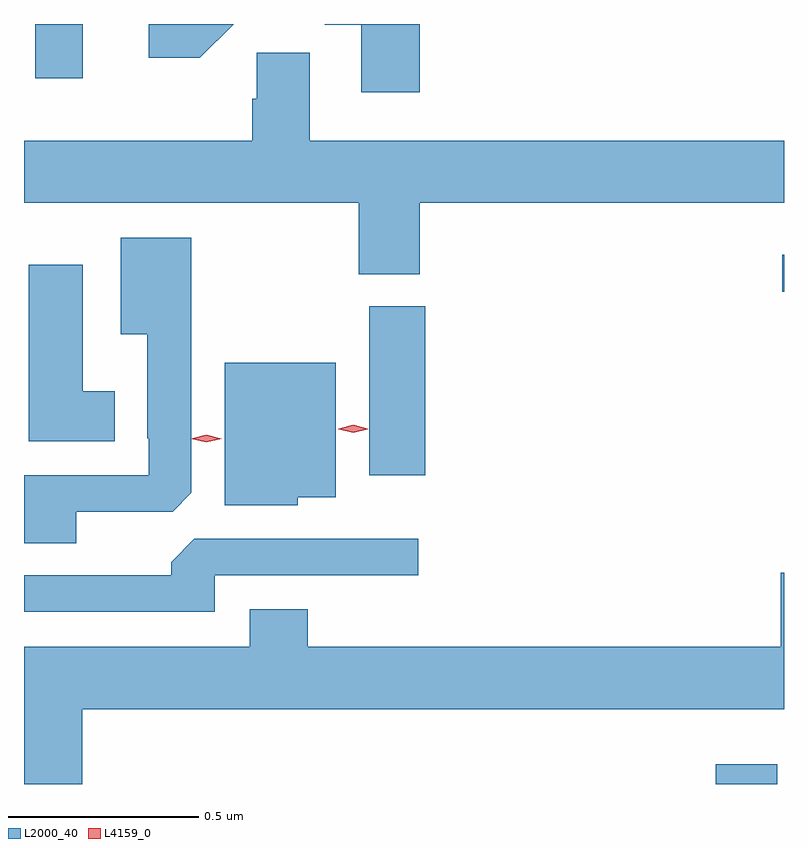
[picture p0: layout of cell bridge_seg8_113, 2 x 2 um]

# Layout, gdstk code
import gdstk
lib = gdstk.Library(unit=1e-6, precision=1e-09)
def R(c, l, rs):  # rectangles x0, y0, x1, y1
    for r in rs: c.add(gdstk.rectangle(r[:2], r[2:], *l))
def P(c, l, *ps):  # polygons
    for p in ps: c.add(gdstk.Polygon(p, *l))
L2000_40 = (2000, 40)
L4159_0 = (4159, 0)

bridge_seg8_113 = lib.new_cell('bridge_seg8_113')
R(bridge_seg8_113, L2000_40, [(852.686,1146.939,852.847,1146.991), (851.774,1147.752,851.921,1148.196), (852.861,1148.235,852.865,1148.332), (850.895,1148.796,851.02,1148.939)])
P(bridge_seg8_113, L2000_40, [(851.417,1148.939),(851.193,1148.939),(851.193,1148.85),(851.328,1148.85)],
  [(851.906,1148.939),(851.657,1148.939),(851.657,1148.937),(851.753,1148.937),(851.753,1148.76),(851.906,1148.76)],
  [(851.906,1148.468),(852.865,1148.468),(852.865,1148.632),(851.617,1148.632),(851.617,1148.864),(851.478,1148.864),(851.478,1148.742),(851.465,1148.742),(851.465,1148.632),(850.865,1148.632),(850.865,1148.468),(851.746,1148.468),(851.746,1148.281),(851.906,1148.281)],
  [(851.002,1147.656),(851.256,1147.656),(851.305,1147.705),(851.305,1148.377),(851.12,1148.377),(851.12,1148.123),(851.189,1148.123),(851.189,1147.849),(851.193,1147.849),(851.193,1147.752),(850.865,1147.752),(850.865,1147.573),(851.002,1147.573)],
  [(851.104,1147.972),(851.02,1147.972),(851.02,1148.305),(850.877,1148.305),(850.877,1147.841),(851.104,1147.841)],
  [(851.586,1147.694),(851.686,1147.694),(851.686,1148.047),(851.393,1148.047),(851.393,1147.673),(851.586,1147.673)],
  [(851.367,1147.488),(851.902,1147.488),(851.902,1147.584),(851.313,1147.584),(851.252,1147.522),(851.252,1147.488),(850.865,1147.488),(850.865,1147.392),(851.367,1147.392)],
  [(851.018,1147.136),(852.865,1147.136),(852.865,1147.495),(852.857,1147.495),(852.857,1147.3),(851.612,1147.3),(851.612,1147.399),(851.459,1147.399),(851.459,1147.3),(850.865,1147.3),(850.865,1146.939),(851.018,1146.939)])
P(bridge_seg8_113, L4159_0, [(851.731,1147.864),(851.693,1147.873),(851.692,1147.873),(851.693,1147.874),(851.731,1147.884),(851.769,1147.874),(851.77,1147.874),(851.769,1147.873)],
  [(851.345,1147.838),(851.304,1147.847),(851.304,1147.848),(851.304,1147.848),(851.345,1147.858),(851.386,1147.848),(851.386,1147.848),(851.386,1147.847)])

lib.write_gds('bridge_seg8_113.gds')
